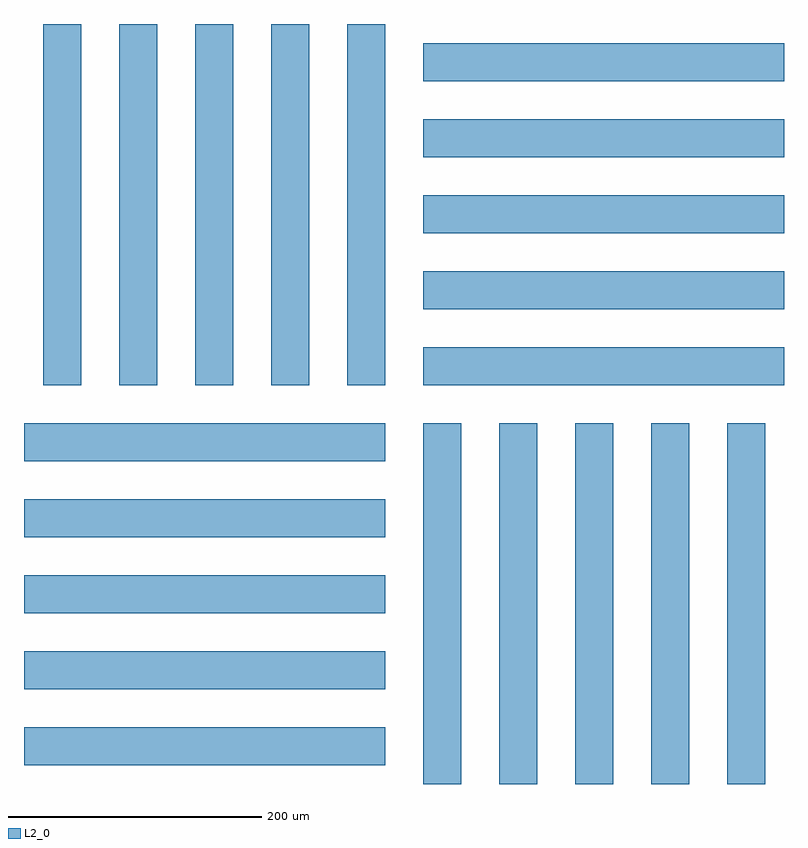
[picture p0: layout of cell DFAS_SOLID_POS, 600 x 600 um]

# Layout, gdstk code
import gdstk
lib = gdstk.Library(unit=1e-6, precision=1e-09)
def R(c, l, rs):  # rectangles x0, y0, x1, y1
    for r in rs: c.add(gdstk.rectangle(r[:2], r[2:], *l))
def A(c, l, x, y, w, h, nx, ny, dx, dy):  # array of equal rectangles
    R(c, l, [(x+i*dx, y+j*dy, x+i*dx+w, y+j*dy+h) for i in range(nx) for j in range(ny)])
L2_0 = (2, 0)

dfas_solid_pos = lib.new_cell('DFAS_SOLID_POS')
A(dfas_solid_pos, L2_0, 15, -300, 30, 285, 5, 1, 60, 0)
A(dfas_solid_pos, L2_0, -300, -285, 285, 30, 1, 5, 0, 60)
A(dfas_solid_pos, L2_0, -285, 15, 30, 285, 5, 1, 60, 0)
A(dfas_solid_pos, L2_0, 15, 15, 285, 30, 1, 5, 0, 60)

lib.write_gds('DFAS_SOLID_POS.gds')
